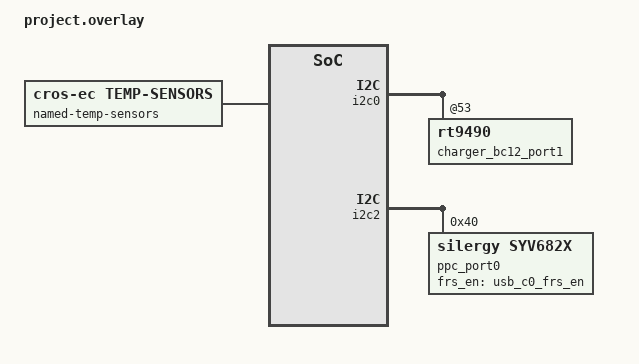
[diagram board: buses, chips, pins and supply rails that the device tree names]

/* Copyright 2024 The ChromiumOS Authors
 * Use of this source code is governed by a BSD-style license that can be
 * found in the LICENSE file.
 */
/* Corsola program common DTS includes */
#include <cros/thermistor/thermistor.dtsi>
#include "../common.dtsi"
#include "../power_signal.dtsi"
#include "../usba.dtsi"
#include "../ite_adc.dtsi"
#include "../ite_gpio.dtsi"
#include "../ite_keyboard.dtsi"
#include "../ite_i2c.dtsi"
#include "../ite_interrupts.dtsi"
#include "../ite_usbc.dtsi"
#include "../ite_shi.dtsi"
#include "./cbi.dtsi"
#include "./keyboard.dtsi"
#include "./thermistor.dtsi"
#include "../ite_motionsense.dtsi"
#include "./pwm_leds.dtsi"

/ {
	aliases {
		/*
		 * motion sense's <>_INT_EVENT is handled
		 * by alias. Using the alias, each driver creates
		 * its own <>_INT_EVENT.
		 */
		bmi3xx-int = &base_accel;
		bma4xx-int = &lid_accel;
	};

	named-gpios {
		/delete-node/ usb_c0_ppc_bc12_int_odl;
		usb_c0_ppc_int_odl: usb_c0_ppc_int_odl {
			gpios = <&gpiod 1 GPIO_INPUT>;
			enum-name = "GPIO_USB_C0_PPC_INT_ODL";
		};
		/delete-node/ usb_c0_ppc_frsinfo;
		usb_c0_frs_en: usb_c0_frs_en {
			gpios = <&gpiof 0 GPIO_OUTPUT_LOW>;
			enum-name = "GPIO_USB_C0_FRS_EN";
		};
		usb_a1_fault_odl: usb_a1_fault_odl {
			gpios = <&gpioh 6 GPIO_INPUT>;
		};
		en_pp5000_usb_a1_vbus_x: en_pp5000_usb_a1_vbus_x {
			gpios = <&gpioa 7 GPIO_OUTPUT_LOW>;
		};
		gpio_battery_led_amber_l: battery_led_amber_l {
			gpios = <&gpioa 1 GPIO_OUTPUT_HIGH>;
		};
		gpio_battery_led_white_l: battery_led_white_l {
			gpios = <&gpioa 2 GPIO_OUTPUT_HIGH>;
		};
	};
	unused-pins {
		unused-gpios =
			/* pg_pp5000_z2_od */
			<&gpiod 2 GPIO_INPUT>,
			/* pg_mt6315_proc_b_odl */
			<&gpioe 1 GPIO_INPUT>,
			/* ec_pen_chg_dis_odl */
			<&gpioh 3 GPIO_ODR_HIGH>,
			/* usb_c1_bc12_charger_int_odl */
			<&gpioj 4 GPIO_INPUT>,
			/* unnamed nc pins */
			<&gpioh 2 GPIO_INPUT_PULL_DOWN>,
			<&gpioa 3 GPIO_INPUT_PULL_DOWN>,
			<&gpioa 6 GPIO_INPUT_PULL_DOWN>,
			<&gpiof 1 GPIO_INPUT_PULL_DOWN>,
			<&gpiod 7 GPIO_INPUT_PULL_DOWN>,
			<&gpioh 0 GPIO_INPUT_PULL_DOWN>,
			<&gpioi 3 GPIO_INPUT_PULL_DOWN>,
			<&gpioi 6 GPIO_INPUT_PULL_DOWN>,
			<&gpioi 7 GPIO_INPUT_PULL_DOWN>,
			<&gpiom 6 (GPIO_INPUT_PULL_DOWN | GPIO_VOLTAGE_1P8)>,
			/* spi_clk_gpg6 */
			<&gpiog 6 GPIO_INPUT_PULL_UP>,
			/* spi_mosi_gpg4 */
			<&gpiog 4 GPIO_OUTPUT_LOW>,
			/* spi_miso_gpg5 */
			<&gpiog 5 GPIO_OUTPUT_LOW>,
			/* spi_cs_gpg7 */
			<&gpiog 7 GPIO_OUTPUT_LOW>;
	};
	gpio-interrupts {
		/delete-node/ x_ec_gpio2;
		/delete-node/ usb_c0_ppc_bc12;
		int_base_imu: base_imu {
			handler = "base_sensor_interrupt";
		};
		int_lid_imu: lid_imu {
			handler = "lid_sensor_interrupt";
		};
		int_usb_c0_ppc: usb_c0_ppc {
			irq-pin = <&usb_c0_ppc_int_odl>;
			flags = <GPIO_INT_EDGE_FALLING>;
			handler = "ppc_interrupt";
		};
		int_x_ec_gpio2: x_ec_gpio2 {
			irq-pin = <&gpio_x_ec_gpio2>;
			flags = <GPIO_INT_EDGE_BOTH>;
			handler = "hdmi_hpd_interrupt";
		};
	};
	usbc {
		port0@0 {
			ppc = <&ppc_port0>;
		};
		port1@1 {
			/delete-property/ bc12;
			/delete-property/ ppc;
			/delete-property/ tcpc;
			/delete-property/ usb-mux-chain-1;
			/delete-property/ usb-mux-chain-1-hdmi-db;
			usb-mux-chain-1 {
				compatible = "cros-ec,usb-mux-chain";
				usb-muxes = <&virtual_mux_1>;
			};
		};
	};
	named-adc-channels {
		adc_ambient: ambient {
			enum-name = "ADC_TEMP_SENSOR_2_AMBIENT";
			io-channels = <&adc0 5>;
		};
	};
	named-i2c-ports {
		compatible = "named-i2c-ports";
		/delete-node/ usb-c1;
		i2c_hdmi: i2c_hdmi {
			i2c-port = <&i2c4>;
			enum-names = "I2C_PORT_USB_C1",
				"I2C_PORT_USB_MUX1";
		};
	};
	named-temp-sensors {
		compatible = "cros-ec,temp-sensors";
		temp_charger: charger {
			temp_host_high = <68>;
			temp_host_halt = <90>;
			temp_host_release_high = <59>;
			sensor = <&charger_bc12_port1>;
		};
	};

	/*
	 * Declare mutexes used by sensor drivers.
	 * A mutex node is used to create an instance of mutex_t.
	 * A mutex node is referenced by a sensor node if the
	 * corresponding sensor driver needs to use the
	 * instance of the mutex.
	 */
	motionsense-mutex {
		base_mutex_bmi323: bmi323-mutex {
		};

		lid_mutex_bma422: bma422-mutex {
		};
	};

	/* Rotation matrix used by drivers. */
	motionsense-rotation-ref {
		lid_rot_ref_bma422: lid-rotation-ref-bma422 {
			mat33 = <0 1 0
				 1 0 0
				 0 0 (-1)>;
		};

		base_rot_ref_bmi323: base-rotation-ref-bmi323 {
			mat33 = <0 1 0
				 (-1) 0 0
				 0 0 1>;
		};
	};

	/*
	 * Driver specific data. A driver-specific data can be shared with
	 * different motion sensors while they are using the same driver.
	 *
	 * If a node's compatible starts with "cros-ec,accelgyro-", it is for
	 * a common structure defined in accelgyro.h.
	 * e.g) compatible = "cros-ec,accelgyro-als-drv-data" is for
	 * "struct als_drv_data_t" in accelgyro.h
	 */
	motionsense-sensor-data {
		bmi323_data: bmi323-drv-data {
			compatible = "cros-ec,drvdata-bmi3xx";
			status = "okay";
		};

		bma422_data: bma422-drv-data {
			compatible = "cros-ec,drvdata-bma4xx";
			status = "okay";
		};
	};
	motionsense-sensor {
		/delete-node/ lid_accel;
		/delete-node/ base-accel;
		/delete-node/ base-gyro;
		lid_accel: lid-accel {
			compatible = "cros-ec,bma4xx";
			status = "okay";

			active-mask = "SENSOR_ACTIVE_S0_S3";
			location = "MOTIONSENSE_LOC_LID";
			mutex = <&lid_mutex_bma422>;
			port = <&i2c_sensor>;
			rot-standard-ref = <&lid_rot_ref_bma422>;
			default-range = <2>;
			drv-data = <&bma422_data>;
			i2c-spi-addr-flags = "BMA4_I2C_ADDR_PRIMARY";
			configs {
				compatible =
					"cros-ec,motionsense-sensor-config";
				ec-s0 {
					odr = <(10000 | ROUND_UP_FLAG)>;
				};
				ec-s3 {
					odr = <(10000 | ROUND_UP_FLAG)>;
				};
			};
		};

		base_accel: base-accel {
			compatible = "cros-ec,bmi3xx-accel";
			status = "okay";

			active-mask = "SENSOR_ACTIVE_S0_S3";
			location = "MOTIONSENSE_LOC_BASE";
			mutex = <&base_mutex>;
			port = <&i2c_sensor>;
			rot-standard-ref = <&base_rot_ref>;
			drv-data = <&bmi323_data>;
			configs {
				compatible =
					"cros-ec,motionsense-sensor-config";
				ec-s0 {
					odr = <(10000 | ROUND_UP_FLAG)>;
				};
				ec-s3 {
					odr = <(10000 | ROUND_UP_FLAG)>;
				};
			};
		};

		base_gyro: base-gyro {
			compatible = "cros-ec,bmi3xx-gyro";
			status = "okay";

			active-mask = "SENSOR_ACTIVE_S0_S3";
			location = "MOTIONSENSE_LOC_BASE";
			mutex = <&base_mutex>;
			port = <&i2c_sensor>;
			rot-standard-ref = <&base_rot_ref>;
			drv-data = <&bmi323_data>;
		};
	};
	batteries {
		default_battery: 313_b7_32_a {
			compatible = "nvt,313-b7-32-a", "battery-smart";
		};
		313_ac_32_a {
			compatible = "cosmx,313-ac-32-a", "battery-smart";
		};
		313_2d_32_a {
			compatible = "dynapack,313-2d-32-a", "battery-smart";
		};
		333_2c_32_a {
			compatible = "dynapack,333-2c-32-a", "battery-smart";
		};
		313_12_32_a {
			compatible = "smp,313-12-32-a", "battery-smart";
		};
		333_17_32_a {
			compatible = "smp,333-17-32-a", "battery-smart";
		};
		333_cf_32_a {
			compatible = "sunwoda,333-cf-32-a", "battery-smart";
		};
	};
};
&adc0 {
	pinctrl-0 = <&adc0_ch0_gpi0_default
		     &adc0_ch1_gpi1_default
		     &adc0_ch2_gpi2_default
			 &adc0_ch5_gpi5_default>;
};
&i2c0 {
	charger_bc12_port1: rt9490@53 {
		thermistor = <&thermistor_rt9490>;
	};
};
&i2c2 {
	ppc_port0: syv682x@40 {
		compatible = "silergy,syv682x";
		status = "okay";
		reg = <0x40>;
		frs_en_gpio = <&usb_c0_frs_en>;
	};
};
&i2c4 {
	/delete-node/ tusb1064-mux-1@44;
	/delete-node/ ps8743_mux_1;
};

/* Veluza usba port enable config */
&usba_port_enable_list {
	enable-pins = <&en_pp5000_usb_a0_vbus
		       &en_pp5000_usb_a1_vbus_x>;
};
